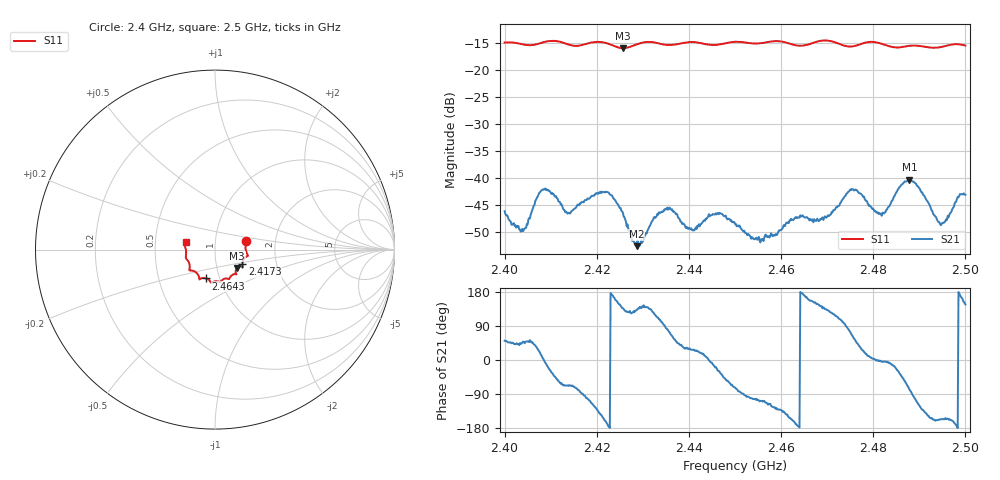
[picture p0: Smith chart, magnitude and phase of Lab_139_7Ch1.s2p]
# Hz S RI R 50
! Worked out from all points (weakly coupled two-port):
!   601 points, 2.4 GHz to 2.5 GHz, reference 50 ohm
!   highest |S21| = -40.33 dB at 2.4878 GHz (marker M1); lowest = -52.6 dB at 2.4287 GHz (marker M2)
!   lowest |S11| = -15.9 dB at 2.4257 GHz (marker M3), VSWR 1.38, Z = 62.4 - j13.1 ohm
!   |S11| at or under -10 dB: start of sweep to end of sweep
!   S12 and S22 are empty: the file has one direction only
!   S11 on the Smith chart (normalised r, x): 2.4 GHz: 1.41, +0.14; 2.4173 GHz: 1.34, -0.23; 2.4643 GHz: 0.86, -0.28; 2.5 GHz: 0.72, +0.06
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2.4e9  0.1731 0.0496  0.00311 0.00382  0 0  0 0
2.403667e9  0.1718 0.0285  0.00233 0.00222  0 0  0 0
2.408333e9  0.1795 -0.0238  0.00784 0.000582  0 0  0 0
2.413667e9  0.168 -0.0442  0.0018 -0.00431  0 0  0 0
2.416667e9  0.153 -0.0745  0.000323 -0.00594  0 0  0 0
2.417333e9  0.1523 -0.082  -0.000413 -0.00619  0 0  0 0
2.422167e9  0.1506 -0.0944  -0.00723 -0.00174  0 0  0 0
2.425667e9  0.1225 -0.1024  -0.00346 0.00329  0 0  0 0
2.428667e9  0.1156 -0.1289  -0.00155 0.00174  0 0  0 0
2.433333e9  0.1128 -0.1366  -0.00169 0.00424  0 0  0 0
2.440667e9  0.0787 -0.1643  0.00295 0.00148  0 0  0 0
2.446333e9  0.0448 -0.1664  0.00415 -0.00229  0 0  0 0
2.45e9  0.0297 -0.1807  0.00114 -0.00358  0 0  0 0
2.455833e9  -0.00522 -0.178  -0.000823 -0.00255  0 0  0 0
2.464333e9  -0.0505 -0.1605  -0.0044 0.000148  0 0  0 0
2.466667e9  -0.0763 -0.1598  -0.00368 0.00166  0 0  0 0
2.475333e9  -0.1098 -0.1239  0.00316 0.00726  0 0  0 0
2.481333e9  -0.1419 -0.1074  0.00474 -0.000246  0 0  0 0
2.483333e9  -0.1411 -0.0896  0.00539 -0.000593  0 0  0 0
2.487833e9  -0.1599 -0.0517  0.00208 -0.0094  0 0  0 0
2.494667e9  -0.1633 0.00642  -0.00334 -0.00147  0 0  0 0
2.5e9  -0.1637 0.042  -0.00582 0.00385  0 0  0 0
